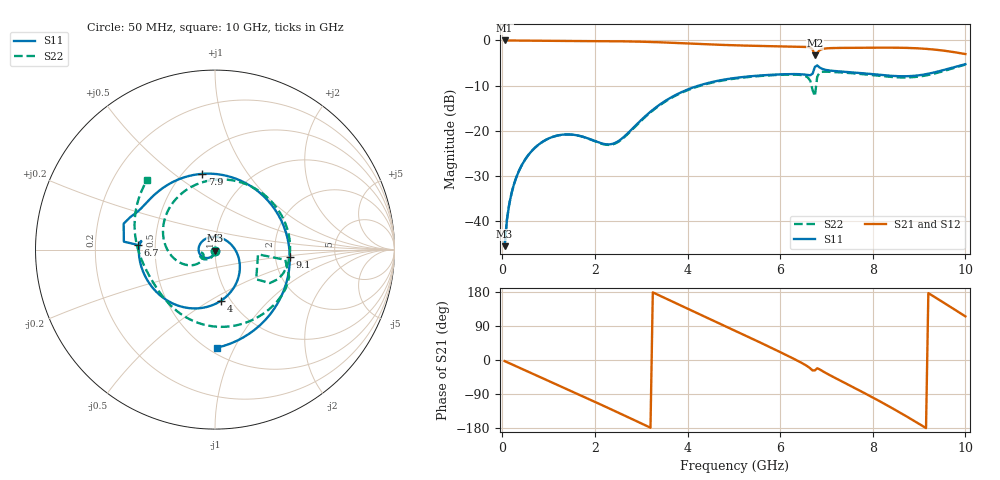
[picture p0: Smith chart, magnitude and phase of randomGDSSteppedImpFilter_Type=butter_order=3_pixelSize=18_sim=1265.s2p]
! freq	dB(S11)	phase(S11)	dB(S12)	phase(S12)
!  dB(S21)	phase(S21)	dB(S22)	phase(S22)
!S-par simulation data
#  GHz  S  DB  R 50
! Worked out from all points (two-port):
!   200 points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, 50 MHz to 10 GHz, reference 50 ohm
!   highest |S21| = -0.01 dB at 50 MHz (marker M1); lowest = -3.3 dB at 6.75 GHz (marker M2)
!   |S21| within 3 dB of the highest: start of sweep to 6.739 GHz; 6.778 GHz to 9.996 GHz (3.218 GHz wide, 38.4 % of centre)
!   lowest |S11| = -45.5 dB at 50 MHz (marker M3), VSWR 1.01, Z = 50 - j0.531 ohm
!   |S11| at or under -10 dB: start of sweep to 4.24 GHz
!   |S22| runs from -45.4 to -5.4 dB; largest |S21 - S12| = 0
!   S11 on the Smith chart (normalised r, x): 50 MHz: 1.00, -0.01; 4 GHz: 0.91, -0.56; 6.7 GHz: 0.40, +0.02; 7.9 GHz: 0.62, +0.64; 9.1 GHz: 2.41, -0.25; 10 GHz: 0.55, -0.85
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0.05  -45.51 -89.2  -0.01 -2.8  -0.01 -2.8  -45.38 -90.6
0.1  -39.68 -94.0  -0.01 -5.6  -0.01 -5.6  -39.62 -93.0
0.2  -33.77 -101.3  -0.02 -11.1  -0.02 -11.1  -33.77 -99.3
0.55  -25.52 -123.7  -0.05 -30.4  -0.05 -30.4  -25.50 -117.9
1.2  -21.01 -165.9  -0.11 -66.2  -0.11 -66.2  -21.03 -148.3
1.75  -21.33 150.4  -0.14 -96.6  -0.14 -96.6  -21.35 -165.8
2.65  -21.11 25.8  -0.21 -147.2  -0.21 -147.2  -21.27 -142.2
3.4  -14.20 -46.7  -0.41 169.8  -0.41 169.8  -14.33 -154.9
4  -10.87 -83.1  -0.67 135.5  -0.67 135.5  -11.01 173.2
4.55  -9.15 -110.0  -0.91 104.3  -0.91 104.3  -9.29 138.1
5.05  -8.27 -131.2  -1.09 75.9  -1.09 75.9  -8.40 102.7
6  -7.51 -166.8  -1.32 20.9  -1.32 20.9  -7.61 28.6
6.45  -7.49 177.1  -1.39 -6.7  -1.39 -6.7  -7.66 -9.5
6.7  -7.37 176.6  -2.02 -27.5  -2.02 -27.5  -10.97 -35.8
6.75  -5.85 175.0  -3.27 -27.4  -3.27 -27.4  -12.35 -6.3
6.85  -5.96 158.6  -2.18 -24.5  -2.18 -24.5  -7.13 -20.3
7.3  -6.87 135.6  -1.66 -54.5  -1.66 -54.5  -7.07 -64.2
7.9  -7.37 99.4  -1.61 -92.5  -1.61 -92.5  -7.58 -104.3
8.35  -7.79 64.9  -1.60 -122.3  -1.60 -122.3  -8.04 -130.0
9.1  -7.55 -5.9  -1.83 -176.0  -1.83 -176.0  -7.83 -167.9
9.5  -6.63 -44.9  -2.22 153.7  -2.22 153.7  -6.87 169.1
10  -5.26 -89.1  -3.01 115.1  -3.01 115.1  -5.36 134.4
